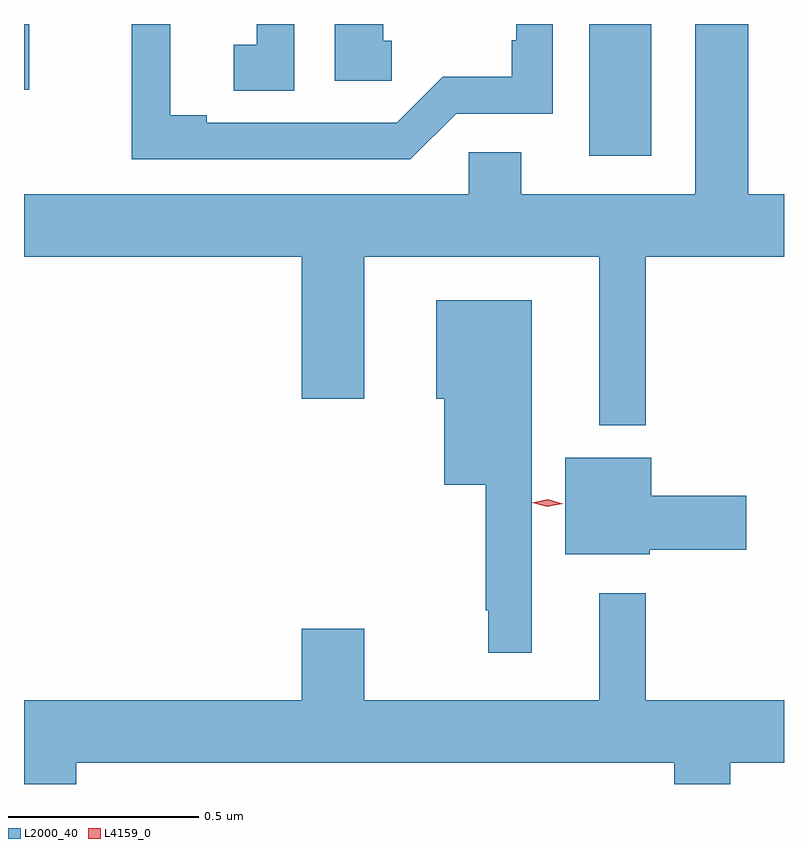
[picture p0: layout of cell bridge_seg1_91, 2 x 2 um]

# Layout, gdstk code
import gdstk
lib = gdstk.Library(unit=1e-6, precision=1e-09)
def R(c, l, rs):  # rectangles x0, y0, x1, y1
    for r in rs: c.add(gdstk.rectangle(r[:2], r[2:], *l))
def P(c, l, *ps):  # polygons
    for p in ps: c.add(gdstk.Polygon(p, *l))
L2000_40 = (2000, 40)
L4159_0 = (4159, 0)

bridge_seg1_91 = lib.new_cell('bridge_seg1_91')
R(bridge_seg1_91, L2000_40, [(153.776,514.701,153.94,515.048), (152.289,514.875,152.303,515.048)])
P(bridge_seg1_91, L2000_40, [(154.289,514.6),(154.195,514.6),(154.195,515.048),(154.055,515.048),(154.055,514.6),(153.598,514.6),(153.598,514.71),(153.459,514.71),(153.459,514.6),(152.289,514.6),(152.289,514.436),(153.02,514.436),(153.02,514.062),(153.184,514.062),(153.184,514.436),(153.803,514.436),(153.803,513.992),(153.925,513.992),(153.925,514.436),(154.289,514.436)],
  [(153.426,514.812),(153.681,514.812),(153.681,515.048),(153.585,515.048),(153.585,515.005),(153.573,515.005),(153.573,514.909),(153.391,514.909),(153.27,514.788),(152.77,514.788),(152.77,514.808),(152.674,514.808),(152.674,515.048),(152.572,515.048),(152.572,514.692),(153.306,514.692)],
  [(153,515.048),(152.902,515.048),(152.902,514.993),(152.841,514.993),(152.841,514.873),(153,514.873)],
  [(153.257,515.004),(153.235,515.004),(153.235,515.048),(153.107,515.048),(153.107,514.899),(153.257,514.899)],
  [(153.625,514.321),(153.374,514.321),(153.374,514.062),(153.395,514.062),(153.395,513.836),(153.504,513.836),(153.504,513.505),(153.511,513.505),(153.511,513.393),(153.625,513.393)],
  [(153.936,513.664),(154.189,513.664),(154.189,513.806),(153.94,513.806),(153.94,513.907),(153.713,513.907),(153.713,513.653),(153.936,513.653)],
  [(152.427,513.104),(154,513.104),(154,513.048),(154.147,513.048),(154.147,513.104),(154.289,513.104),(154.289,513.268),(153.925,513.268),(153.925,513.55),(153.803,513.55),(153.803,513.268),(153.184,513.268),(153.184,513.457),(153.02,513.457),(153.02,513.268),(152.289,513.268),(152.289,513.048),(152.427,513.048)])
P(bridge_seg1_91, L4159_0, [(153.666,513.777),(153.626,513.788),(153.626,513.788),(153.626,513.788),(153.667,513.797),(153.707,513.786),(153.708,513.786),(153.707,513.786)])

lib.write_gds('bridge_seg1_91.gds')
